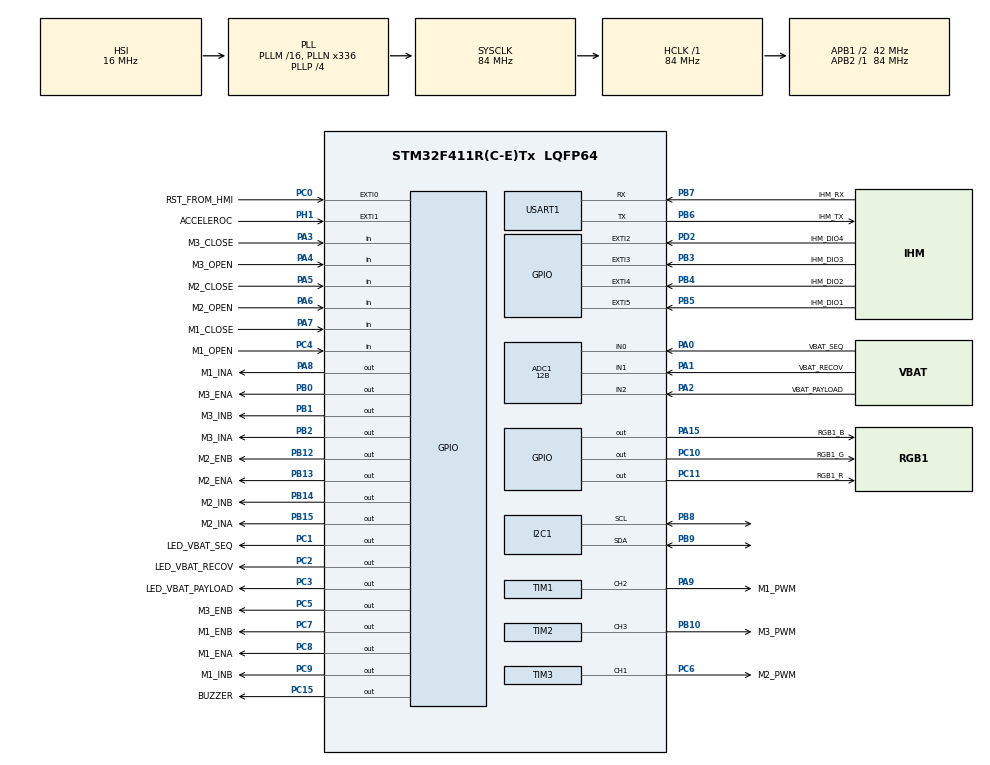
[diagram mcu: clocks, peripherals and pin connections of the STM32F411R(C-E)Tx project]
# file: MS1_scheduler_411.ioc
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ADC1.Channel-0\#ChannelRegularConversion=ADC_CHANNEL_0
ADC1.Channel-1\#ChannelRegularConversion=ADC_CHANNEL_1
ADC1.Channel-2\#ChannelRegularConversion=ADC_CHANNEL_2
ADC1.ContinuousConvMode=ENABLE
ADC1.DMAContinuousRequests=ENABLE
ADC1.EOCSelection=ADC_EOC_SEQ_CONV
ADC1.NbrOfConversion=3
ADC1.NbrOfConversionFlag=1
ADC1.Rank-0\#ChannelRegularConversion=1
ADC1.Rank-1\#ChannelRegularConversion=2
ADC1.Rank-2\#ChannelRegularConversion=3
ADC1.Resolution=ADC_RESOLUTION_12B
ADC1.SamplingTime-0\#ChannelRegularConversion=ADC_SAMPLETIME_15CYCLES
ADC1.SamplingTime-1\#ChannelRegularConversion=ADC_SAMPLETIME_15CYCLES
ADC1.SamplingTime-2\#ChannelRegularConversion=ADC_SAMPLETIME_15CYCLES
ADC1.master=1
Dma.ADC1.0.Direction=DMA_PERIPH_TO_MEMORY
Dma.ADC1.0.FIFOMode=DMA_FIFOMODE_DISABLE
Dma.ADC1.0.Instance=DMA2_Stream0
Dma.ADC1.0.MemDataAlignment=DMA_MDATAALIGN_WORD
Dma.ADC1.0.MemInc=DMA_MINC_ENABLE
Dma.ADC1.0.Mode=DMA_CIRCULAR
Dma.ADC1.0.PeriphDataAlignment=DMA_PDATAALIGN_WORD
Dma.ADC1.0.PeriphInc=DMA_PINC_DISABLE
Dma.ADC1.0.Priority=DMA_PRIORITY_LOW
Dma.Request0=ADC1
Mcu.Family=STM32F4
Mcu.Name=STM32F411R(C-E)Tx
Mcu.Package=LQFP64
NVIC.DMA2_Stream0_IRQn=true\:0\:0\:false\:false\:true\:false\:true
NVIC.EXTI0_IRQn=true\:0\:0\:false\:false\:true\:true\:true
NVIC.EXTI1_IRQn=true\:6\:0\:true\:false\:true\:true\:true
NVIC.EXTI2_IRQn=true\:6\:0\:true\:false\:true\:true\:true
NVIC.EXTI3_IRQn=true\:6\:0\:true\:false\:true\:true\:true
NVIC.EXTI4_IRQn=true\:6\:0\:true\:false\:true\:true\:true
NVIC.EXTI9_5_IRQn=true\:6\:0\:true\:false\:true\:true\:true
NVIC.PriorityGroup=NVIC_PRIORITYGROUP_4
NVIC.TIM5_IRQn=true\:15\:0\:false\:false\:true\:false\:true
NVIC.TimeBase=TIM5_IRQn
NVIC.TimeBaseIP=TIM5
PA0-WKUP.GPIO_Label=VBAT_SEQ
PA0-WKUP.Signal=ADCx_IN0
PA1.GPIO_Label=VBAT_RECOV
PA1.Signal=ADCx_IN1
PA13.Mode=Serial_Wire
PA13.Signal=SYS_JTMS-SWDIO
PA14.Mode=Serial_Wire
PA14.Signal=SYS_JTCK-SWCLK
PA15.GPIO_Label=RGB1_B
PA15.Signal=GPIO_Output
PA2.GPIO_Label=VBAT_PAYLOAD
PA2.Signal=ADCx_IN2
PA3.GPIO_Label=M3_CLOSE
PA3.Signal=GPIO_Input
PA4.GPIO_Label=M3_OPEN
PA4.Signal=GPIO_Input
PA5.GPIO_Label=M2_CLOSE
PA5.Signal=GPIO_Input
PA6.GPIO_Label=M2_OPEN
PA6.Signal=GPIO_Input
PA7.GPIO_Label=M1_CLOSE
PA7.Signal=GPIO_Input
PA8.GPIO_Label=M1_INA
PA8.Signal=GPIO_Output
PA9.GPIO_Label=M1_PWM
PA9.GPIO_Speed=GPIO_SPEED_FREQ_VERY_HIGH
PA9.Signal=S_TIM1_CH2
PB0.GPIO_Label=M3_ENA
PB0.Signal=GPIO_Output
PB1.GPIO_Label=M3_INB
PB1.Signal=GPIO_Output
PB10.GPIO_Label=M3_PWM
PB10.GPIO_Speed=GPIO_SPEED_FREQ_VERY_HIGH
PB10.Signal=S_TIM2_CH3
PB12.GPIO_Label=M2_ENB
PB12.Signal=GPIO_Output
PB13.GPIO_Label=M2_ENA
PB13.Signal=GPIO_Output
PB14.GPIO_Label=M2_INB
PB14.Signal=GPIO_Output
PB15.GPIO_Label=M2_INA
PB15.Signal=GPIO_Output
PB2.GPIO_Label=M3_INA
PB2.Signal=GPIO_Output
PB3.GPIO_Label=IHM_DIO3
PB3.Signal=GPXTI3
PB4.GPIO_Label=IHM_DIO2
PB4.Signal=GPXTI4
PB5.GPIO_Label=IHM_DIO1
PB5.Signal=GPXTI5
PB6.GPIO_Label=IHM_TX
PB6.Mode=Asynchronous
PB6.Signal=USART1_TX
PB7.GPIO_Label=IHM_RX
PB7.Mode=Asynchronous
PB7.Signal=USART1_RX
PB8.Mode=I2C
PB8.Signal=I2C1_SCL
PB9.Mode=I2C
PB9.Signal=I2C1_SDA
PC0.GPIO_Label=RST_FROM_HMI
PC0.GPIO_PuPd=GPIO_NOPULL
PC0.Signal=GPXTI0
PC1.GPIO_Label=LED_VBAT_SEQ
PC1.Signal=GPIO_Output
PC10.GPIO_Label=RGB1_G
PC10.Signal=GPIO_Output
PC11.GPIO_Label=RGB1_R
PC11.Signal=GPIO_Output
PC15-OSC32_OUT.GPIO_Label=BUZZER
PC15-OSC32_OUT.Signal=GPIO_Output
PC2.GPIO_Label=LED_VBAT_RECOV
PC2.Signal=GPIO_Output
PC3.GPIO_Label=LED_VBAT_PAYLOAD
PC3.Signal=GPIO_Output
PC4.GPIO_Label=M1_OPEN
PC4.Signal=GPIO_Input
PC5.GPIO_Label=M3_ENB
PC5.Signal=GPIO_Output
PC6.GPIO_Label=M2_PWM
PC6.GPIO_Speed=GPIO_SPEED_FREQ_VERY_HIGH
PC6.Signal=S_TIM3_CH1
PC7.GPIO_Label=M1_ENB
PC7.Signal=GPIO_Output
PC8.GPIO_Label=M1_ENA
PC8.Signal=GPIO_Output
PC9.GPIO_Label=M1_INB
PC9.Signal=GPIO_Output
PD2.GPIO_Label=IHM_DIO4
PD2.Signal=GPXTI2
PH1\ -\ OSC_OUT.GPIO_Label=ACCELEROC
PH1\ -\ OSC_OUT.Signal=GPXTI1
ProjectManager.HeapSize=0x200
ProjectManager.StackSize=0x400
ProjectManager.TargetToolchain=STM32CubeIDE
RCC.48MHZClocksFreq_Value=84000000
RCC.AHBFreq_Value=84000000
RCC.APB1CLKDivider=RCC_HCLK_DIV2
RCC.APB1Freq_Value=42000000
RCC.APB1TimFreq_Value=84000000
RCC.APB2Freq_Value=84000000
RCC.APB2TimFreq_Value=84000000
RCC.CortexFreq_Value=84000000
RCC.FLatency-AdvancedSettings=FLASH_LATENCY_2
RCC.HCLKFreq_Value=84000000
RCC.HSE_VALUE=8000000
RCC.HSI_VALUE=16000000
RCC.LSE_VALUE=32768
RCC.PLLN=336
RCC.PLLP=RCC_PLLP_DIV4
RCC.SYSCLKFreq_VALUE=84000000
RCC.SYSCLKSource=RCC_SYSCLKSOURCE_PLLCLK
RCC.VCOOutputFreq_Value=336000000
SH.ADCx_IN0.0=ADC1_IN0,IN0
SH.ADCx_IN1.0=ADC1_IN1,IN1
SH.ADCx_IN2.0=ADC1_IN2,IN2
SH.S_TIM1_CH2.0=TIM1_CH2,PWM Generation2 CH2
SH.S_TIM2_CH3.0=TIM2_CH3,PWM Generation3 CH3
SH.S_TIM3_CH1.0=TIM3_CH1,PWM Generation1 CH1
TIM1.AutoReloadPreload=TIM_AUTORELOAD_PRELOAD_ENABLE
TIM1.Channel-PWM\ Generation2\ CH2=TIM_CHANNEL_2
TIM1.Period=4200-1
TIM1.Prescaler=0
TIM2.AutoReloadPreload=TIM_AUTORELOAD_PRELOAD_ENABLE
TIM2.Channel-PWM\ Generation3\ CH3=TIM_CHANNEL_3
TIM2.Period=4200-1
TIM2.Prescaler=0
TIM3.AutoReloadPreload=TIM_AUTORELOAD_PRELOAD_ENABLE
TIM3.Channel-PWM\ Generation1\ CH1=TIM_CHANNEL_1
TIM3.Period=4200-1
TIM3.Prescaler=0
USART1.VirtualMode=VM_ASYNC
VP_SYS_VS_tim5.Mode=TIM5
board=NUCLEO-F411RE

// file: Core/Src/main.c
/* USER CODE BEGIN Header */
/**
  ******************************************************************************
  * @file           : main.c
  * @brief          : Main program body
  ******************************************************************************
  * @attention
  *
  * Copyright (c) 2022 STMicroelectronics.
  * All rights reserved.
  *
  * This software is licensed under terms that can be found in the LICENSE file
  * in the root directory of this software component.
  * If no LICENSE file comes with this software, it is provided AS-IS.
  *
  ******************************************************************************
  */
/* USER CODE END Header */
#include "main.h"
#include "adc.h"
#include "dma.h"
#include "i2c.h"
#include "tim.h"
#include "usart.h"
#include "gpio.h"

/* USER CODE BEGIN Includes */
#include "FreeRTOS.h"
#include "task.h"

#include "API_application.h"
#include "API_battery.h"
#include "API_buzzer.h"
#include "API_HMI.h"
#include "API_recovery.h"
#include "API_payload.h"
#include "API_sensors.h"
#include "API_LEDS.h"

/* USER CODE END Includes */

/* USER CODE BEGIN PD */
#define DWT_CTRL    (*(volatile uint32_t*)0xE0001000)
/* USER CODE END PD */

void SystemClock_Config(void);

int main(void)
{

  /* MCU Configuration--------------------------------------------------------*/

  /* Reset of all peripherals, Initializes the Flash interface and the Systick. */
  HAL_Init();

  /* Configure the system clock */
  SystemClock_Config();

  /* Initialize all configured peripherals */
  MX_GPIO_Init();
  MX_I2C1_Init();
  MX_USART1_UART_Init();
  MX_TIM1_Init();
  MX_TIM2_Init();
  MX_TIM3_Init();
  MX_DMA_Init();
  MX_ADC1_Init();
  /* USER CODE BEGIN 2 */

  DWT_CTRL |= ( 1 << 0);

  SEGGER_SYSVIEW_Conf();

  /* Init each components */
  API_HMI_START();
  API_BUZZER_START();
  API_RECOVERY_START();
  API_BATTERY_START();
  API_PAYLOAD_START();
  API_APPLICATION_START();
  //API_SENSORS_START();
  API_LEDS_START();

  vTaskStartScheduler();

  /* USER CODE END 2 */

  /* Infinite loop */
  while (1)
  {

  }
}

void SystemClock_Config(void)
{
  RCC_OscInitTypeDef RCC_OscInitStruct = {0};
  RCC_ClkInitTypeDef RCC_ClkInitStruct = {0};

  /** Configure the main internal regulator output voltage
  */
  __HAL_RCC_PWR_CLK_ENABLE();
  __HAL_PWR_VOLTAGESCALING_CONFIG(PWR_REGULATOR_VOLTAGE_SCALE1);
  /** Initializes the RCC Oscillators according to the specified parameters
  * in the RCC_OscInitTypeDef structure.
  */
  RCC_OscInitStruct.OscillatorType = RCC_OSCILLATORTYPE_HSI;
  RCC_OscInitStruct.HSIState = RCC_HSI_ON;
  RCC_OscInitStruct.HSICalibrationValue = RCC_HSICALIBRATION_DEFAULT;
  RCC_OscInitStruct.PLL.PLLState = RCC_PLL_ON;
  RCC_OscInitStruct.PLL.PLLSource = RCC_PLLSOURCE_HSI;
  RCC_OscInitStruct.PLL.PLLM = 16;
  RCC_OscInitStruct.PLL.PLLN = 336;
  RCC_OscInitStruct.PLL.PLLP = RCC_PLLP_DIV4;
  RCC_OscInitStruct.PLL.PLLQ = 4;
  if (HAL_RCC_OscConfig(&RCC_OscInitStruct) != HAL_OK)
  {
    Error_Handler();
  }
  /** Initializes the CPU, AHB and APB buses clocks
  */
  RCC_ClkInitStruct.ClockType = RCC_CLOCKTYPE_HCLK|RCC_CLOCKTYPE_SYSCLK
                              |RCC_CLOCKTYPE_PCLK1|RCC_CLOCKTYPE_PCLK2;
  RCC_ClkInitStruct.SYSCLKSource = RCC_SYSCLKSOURCE_PLLCLK;
  RCC_ClkInitStruct.AHBCLKDivider = RCC_SYSCLK_DIV1;
  RCC_ClkInitStruct.APB1CLKDivider = RCC_HCLK_DIV2;
  RCC_ClkInitStruct.APB2CLKDivider = RCC_HCLK_DIV1;

  if (HAL_RCC_ClockConfig(&RCC_ClkInitStruct, FLASH_LATENCY_2) != HAL_OK)
  {
    Error_Handler();
  }
}

/* USER CODE BEGIN 4 */

void HAL_GPIO_EXTI_Callback(uint16_t GPIO_Pin)
{
	traceISR_ENTER();
	switch (GPIO_Pin)
	{
		case ACCELEROC_Pin:
        API_APPLICATION_CALLBACK_ISR(E_APP_ISR_AEROC);
        NVIC_DisableIRQ(EXTI15_10_IRQn);
        NVIC_DisableIRQ(EXTI9_5_IRQn);
        NVIC_DisableIRQ(EXTI4_IRQn);
        NVIC_DisableIRQ(EXTI3_IRQn);
        NVIC_DisableIRQ(EXTI2_IRQn);
        break;

		case IHM_DIO1_Pin:  API_APPLICATION_CALLBACK_ISR(E_APP_ISR_RECOV_OPEN);  break;
		case IHM_DIO2_Pin:  API_APPLICATION_CALLBACK_ISR(E_APP_ISR_RECOV_CLOSE); break;
		default: break;
	}

	portYIELD_FROM_ISR(pdFALSE);
	traceISR_EXIT();
}
/* USER CODE END 4 */

void HAL_TIM_PeriodElapsedCallback(TIM_HandleTypeDef *htim)
{
  if (htim->Instance == TIM5) {
    HAL_IncTick();
  }
}

void Error_Handler(void)
{
  __disable_irq();
  while (1)
  {
  }
}
